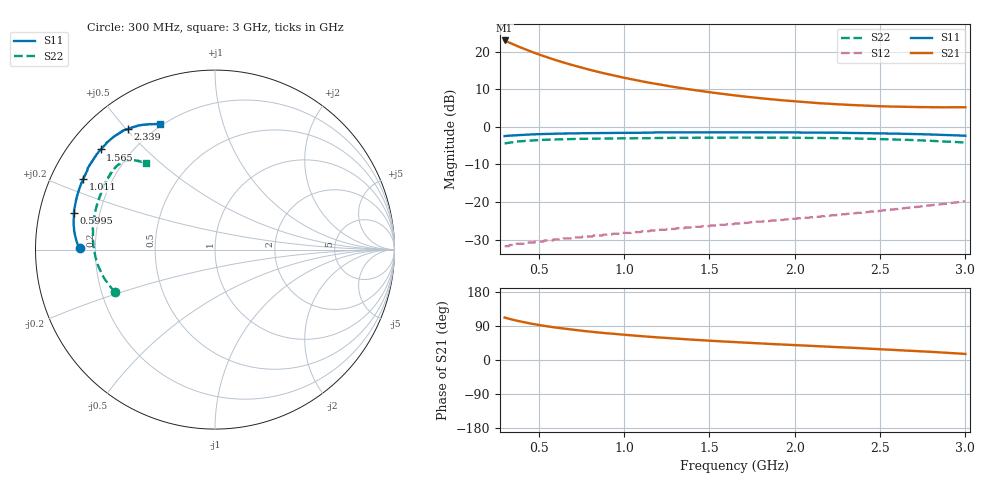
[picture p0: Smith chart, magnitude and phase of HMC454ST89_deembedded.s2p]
!HMC454ST89
! Deembedded Sparameters , reference plane at pins of part
!Verified 6-16-2004
!Vdd=5V
# MHZ S MA R 50
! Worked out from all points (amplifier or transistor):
!   650 points, 300 MHz to 3 GHz, reference 50 ohm
!   highest |S21| = 23.0 dB at 300 MHz (marker M1)
!   |S21| within 3 dB of that: start of sweep to 458 MHz
!   unconditionally stable (mu >= 1): 1.074 GHz to end of sweep
!   at 749.3 MHz: K = 0.89, MSG = 22.6 dB, |S12| = -29.4 dB
!   at 1.652 GHz: K = 1.08, MAG = 15.2 dB, |S12| = -25.7 dB
!   at 3 GHz: K = 1.15, MAG = 10.2 dB, |S12| = -19.8 dB
!   S11 on the Smith chart (normalised r, x): 300 MHz: 0.14, +0.00; 599.5 MHz: 0.11, +0.13; 1.011 GHz: 0.10, +0.25; 1.565 GHz: 0.09, +0.37; 2.339 GHz: 0.12, +0.50; 3 GHz: 0.19, +0.64
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300  0.754 179.5  14.06 112.0  0.026 22.4  0.603 -156.9
312.481  0.759 178.8  13.64 110.4  0.026 22.5  0.61 -158.5
337.442  0.767 177.5  12.87 107.5  0.027 22.7  0.623 -161.6
366.564  0.775 176.0  12.05 104.3  0.027 22.6  0.635 -164.9
395.686  0.782 174.6  11.31 101.3  0.028 22.5  0.645 -167.9
428.968  0.789 172.9  10.55 98.2  0.029 22.9  0.654 -171.0
466.41  0.795 171.3  9.788 95.1  0.029 22.9  0.662 -174.2
508.012  0.801 169.4  9.04 91.9  0.03 22.9  0.669 -177.5
553.775  0.806 167.5  8.324 88.7  0.031 23.1  0.675 179.3
599.538  0.812 165.6  7.707 85.6  0.032 23.1  0.68 176.3
674.422  0.817 162.7  6.845 81.2  0.033 23.4  0.687 172.0
753.467  0.823 159.9  6.11 77.1  0.034 23.4  0.693 168.0
882.435  0.829 155.5  5.147 71.2  0.037 23.4  0.7 162.5
1011.402  0.834 151.8  4.436 66.1  0.039 23.3  0.704 157.9
1202.773  0.842 146.8  3.677 59.5  0.043 22.7  0.712 152.3
1369.183  0.844 143.0  3.186 54.6  0.046 22.1  0.716 148.4
1564.715  0.847 138.8  2.762 49.3  0.05 20.9  0.718 144.6
1652.08  0.846 137.2  2.613 47.1  0.052 20.5  0.72 143.2
2101.387  0.84 129.5  2.094 37.0  0.063 17.5  0.713 137.6
2338.521  0.829 126.0  1.948 32.1  0.071 15.2  0.701 135.2
2550.693  0.815 122.6  1.865 27.5  0.079 12.9  0.683 133.3
3000  0.762 113.6  1.823 16.0  0.102 5.4  0.619 128.5
